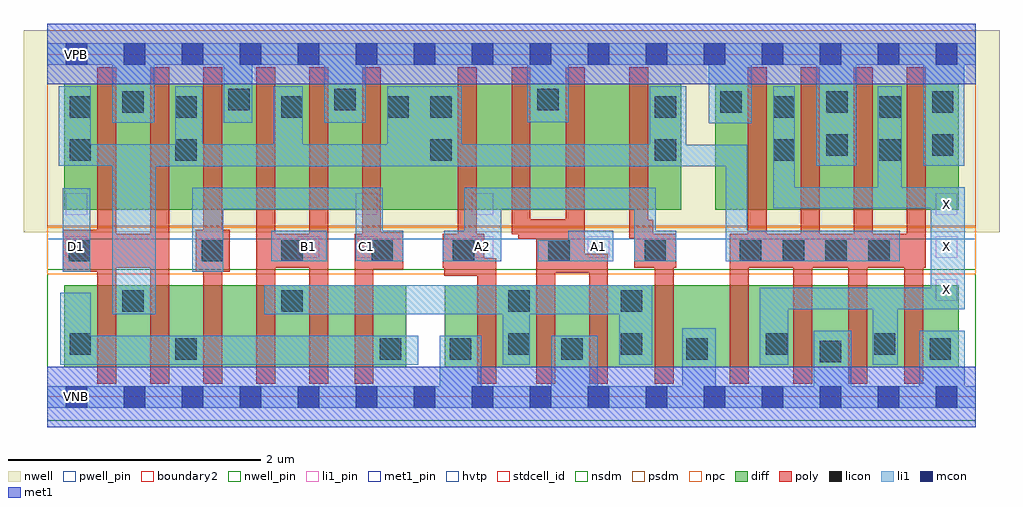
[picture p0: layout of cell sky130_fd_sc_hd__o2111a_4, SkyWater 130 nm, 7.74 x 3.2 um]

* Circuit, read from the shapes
.subckt sky130_fd_sc_hd__o2111a_4 A1 A2 B1 C1 D1 VGND VNB VPB VPWR X
XM1 n1 D1 n2 VNB sky130_fd_pr__nfet_01v8 w=0.65 l=0.15 m=2
XM2 n3 C1 n2 VNB sky130_fd_pr__nfet_01v8 w=0.65 l=0.15
XM3 n4 B1 n3 VNB sky130_fd_pr__nfet_01v8 w=0.65 l=0.15
XM4 n5 B1 n4 VNB sky130_fd_pr__nfet_01v8 w=0.65 l=0.15
XM5 n2 C1 n5 VNB sky130_fd_pr__nfet_01v8 w=0.65 l=0.15
XM6 n4 A2 VGND VNB sky130_fd_pr__nfet_01v8 w=0.65 l=0.15 m=2
XM7 VGND A1 n4 VNB sky130_fd_pr__nfet_01v8 w=0.65 l=0.15 m=2
XM8 X n1 VGND VNB sky130_fd_pr__nfet_01v8 w=0.65 l=0.15 m=4
XM9 VPWR D1 n1 VPB sky130_fd_pr__pfet_01v8_hvt w=1 l=0.15 m=2
XM10 VPWR C1 n1 VPB sky130_fd_pr__pfet_01v8_hvt w=1 l=0.15 m=2
XM11 n1 B1 VPWR VPB sky130_fd_pr__pfet_01v8_hvt w=1 l=0.15 m=2
XM12 n6 A2 n1 VPB sky130_fd_pr__pfet_01v8_hvt w=1 l=0.15
XM13 VPWR A1 n6 VPB sky130_fd_pr__pfet_01v8_hvt w=1 l=0.15
XM14 n7 A1 VPWR VPB sky130_fd_pr__pfet_01v8_hvt w=1 l=0.15
XM15 n1 A2 n7 VPB sky130_fd_pr__pfet_01v8_hvt w=1 l=0.15
XM16 X n1 VPWR VPB sky130_fd_pr__pfet_01v8_hvt w=1 l=0.15 m=4
.ends

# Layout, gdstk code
import gdstk
lib = gdstk.Library(unit=1e-6, precision=1e-09)
def R(c, l, rs):  # rectangles x0, y0, x1, y1
    for r in rs: c.add(gdstk.rectangle(r[:2], r[2:], *l))
def A(c, l, x, y, w, h, nx, ny, dx, dy):  # array of equal rectangles
    R(c, l, [(x+i*dx, y+j*dy, x+i*dx+w, y+j*dy+h) for i in range(nx) for j in range(ny)])
def P(c, l, *ps):  # polygons
    for p in ps: c.add(gdstk.Polygon(p, *l))
nwell_pin = (64, 16)
nwell = (64, 20)
diff = (65, 20)
poly = (66, 20)
licon = (66, 44)
li1_pin = (67, 16)
li1 = (67, 20)
mcon = (67, 44)
met1_pin = (68, 16)
met1 = (68, 20)
hvtp = (78, 44)
stdcell_id = (81, 4)
nsdm = (93, 44)
psdm = (94, 20)
npc = (95, 20)
pwell_pin = (122, 16)
boundary2 = (236, 0)

sky130_fd_sc_hd__o2111a_ = lib.new_cell('sky130_fd_sc_hd__o2111a_4')
R(sky130_fd_sc_hd__o2111a_, nwell_pin, [(0.145,2.635,0.315,2.805)])
R(sky130_fd_sc_hd__o2111a_, nwell, [(-0.19,1.305,7.55,2.91)])
R(sky130_fd_sc_hd__o2111a_, diff, [(0.135,0.235,2.845,0.885), (3.15,0.235,7.225,0.885), (0.135,1.485,5.025,2.485), (5.295,1.485,7.225,2.485)])
R(sky130_fd_sc_hd__o2111a_, poly, [(2.435,0.105,2.585,1.295), (3.255,1.26,3.405,2.615), (2.495,1.265,2.645,2.615), (5.555,1.275,5.705,2.615)])
P(sky130_fd_sc_hd__o2111a_, poly, [(0.965,2.615),(0.815,2.615),(0.815,1.295),(0.545,1.295),(0.545,2.615),(0.395,2.615),(0.395,1.325),(0.12,1.325),(0.12,0.995),(0.395,0.995),(0.395,0.105),(0.545,0.105),(0.545,1.025),(0.815,1.025),(0.815,0.105),(0.965,0.105)],
  [(1.445,1.325),(1.385,1.325),(1.385,2.615),(1.235,2.615),(1.235,1.325),(1.175,1.325),(1.175,0.995),(1.235,0.995),(1.235,0.105),(1.385,0.105),(1.385,0.995),(1.445,0.995)],
  [(2.225,2.615),(2.075,2.615),(2.075,1.295),(1.805,1.295),(1.805,2.615),(1.655,2.615),(1.655,0.105),(1.805,0.105),(1.805,1.025),(2.075,1.025),(2.075,0.105),(2.225,0.105)],
  [(2.82,1.305),(2.495,1.305),(2.495,1.295),(2.49,1.295),(2.49,1.015),(2.82,1.015)],
  [(3.56,1.1),(3.465,1.1),(3.465,1.295),(3.135,1.295),(3.135,1.025),(3.145,1.025),(3.145,0.96),(3.41,0.96),(3.41,0.105),(3.56,0.105)],
  [(4.445,1.135),(4.26,1.135),(4.26,2.615),(4.11,2.615),(4.11,1.41),(3.83,1.41),(3.83,2.615),(3.68,2.615),(3.68,1.29),(3.735,1.29),(3.735,1.255),(3.875,1.255),(3.875,0.105),(4.025,0.105),(4.025,0.985),(4.295,0.985),(4.295,0.105),(4.445,0.105)],
  [(4.985,1.295),(4.805,1.295),(4.805,1.405),(4.765,1.405),(4.765,2.615),(4.615,2.615),(4.615,1.26),(4.655,1.26),(4.655,1.025),(4.815,1.025),(4.815,0.105),(4.965,0.105),(4.965,1.025),(4.985,1.025)],
  [(6.965,2.615),(6.815,2.615),(6.815,1.295),(6.545,1.295),(6.545,2.615),(6.395,2.615),(6.395,1.295),(6.125,1.295),(6.125,2.615),(5.975,2.615),(5.975,1.295),(5.41,1.295),(5.41,0.105),(5.56,0.105),(5.56,1.025),(5.915,1.025),(5.915,0.105),(6.065,0.105),(6.065,1.025),(6.35,1.025),(6.35,0.105),(6.5,0.105),(6.5,1.025),(6.795,1.025),(6.795,0.105),(6.945,0.105),(6.945,1.025),(6.965,1.025)])
A(sky130_fd_sc_hd__o2111a_, licon, 5.49, 1.075, 0.17, 0.17, 4, 1, 0.34, 0)
A(sky130_fd_sc_hd__o2111a_, licon, 0.175, 2.215, 0.17, 0.17, 4, 1, 0.84, 0)
A(sky130_fd_sc_hd__o2111a_, licon, 5.335, 2.255, 0.17, 0.17, 3, 1, 0.84, 0)
R(sky130_fd_sc_hd__o2111a_, licon, [(6.125,0.275,6.295,0.445), (1.015,0.295,1.185,0.465), (2.635,0.295,2.805,0.465), (3.19,0.295,3.36,0.465), (4.075,0.295,4.245,0.465), (5.065,0.295,5.235,0.465), (6.995,0.295,7.165,0.465), (0.175,0.335,0.345,0.505), (3.655,0.335,3.825,0.505), (4.545,0.335,4.715,0.505), (5.695,0.335,5.865,0.505), (6.555,0.335,6.725,0.505), (0.595,0.675,0.765,0.845), (1.855,0.675,2.025,0.845), (3.655,0.675,3.825,0.845), (4.545,0.675,4.715,0.845), (0.17,1.075,0.34,1.245), (1.225,1.075,1.395,1.245), (1.855,1.075,2.025,1.245), (2.57,1.075,2.74,1.245), (3.215,1.075,3.385,1.245), (3.97,1.075,4.14,1.245), (4.735,1.075,4.905,1.245), (0.175,1.875,0.345,2.045), (1.015,1.875,1.185,2.045), (3.035,1.875,3.205,2.045), (4.815,1.875,4.985,2.045), (5.755,1.875,5.925,2.045), (6.595,1.875,6.765,2.045), (6.175,1.915,6.345,2.085), (7.015,1.915,7.185,2.085), (3.035,2.215,3.205,2.385), (4.815,2.215,4.985,2.385), (5.755,2.215,5.925,2.385), (6.595,2.215,6.765,2.385), (0.595,2.255,0.765,2.425), (1.435,2.275,1.605,2.445), (2.275,2.275,2.445,2.445), (3.885,2.275,4.055,2.445)])
A(sky130_fd_sc_hd__o2111a_, li1_pin, 7.045, 0.765, 0.17, 0.17, 1, 3, 0, 0.34)
A(sky130_fd_sc_hd__o2111a_, li1_pin, 2.445, 1.105, 0.17, 0.17, 3, 1, 0.92, 0)
R(sky130_fd_sc_hd__o2111a_, li1_pin, [(0.145,1.105,0.315,1.275), (1.985,1.105,2.155,1.275), (0.145,1.445,0.315,1.615), (2.445,1.445,2.615,1.615), (3.365,1.445,3.535,1.615)])
R(sky130_fd_sc_hd__o2111a_, li1, [(0.12,0.995,0.34,1.655), (1.775,1.075,2.215,1.32)])
P(sky130_fd_sc_hd__o2111a_, li1, [(7.36,0.085),(7.275,0.085),(7.275,0.525),(6.915,0.525),(6.915,0.085),(6.375,0.085),(6.375,0.525),(6.075,0.525),(6.075,0.085),(5.3,0.085),(5.3,0.545),(5.035,0.545),(5.035,0.085),(4.365,0.085),(4.365,0.485),(3.995,0.485),(3.995,0.085),(3.44,0.085),(3.44,0.485),(3.11,0.485),(3.11,0.085),(0,0.085),(0,-0.085),(7.36,-0.085)],
  [(7.36,2.805),(0,2.805),(0,2.635),(0.515,2.635),(0.515,2.175),(0.845,2.175),(0.845,2.635),(1.4,2.635),(1.4,2.175),(1.625,2.175),(1.625,2.635),(2.195,2.635),(2.195,2.175),(2.525,2.175),(2.525,2.635),(3.805,2.635),(3.805,2.18),(4.135,2.18),(4.135,2.635),(5.245,2.635),(5.245,2.17),(5.585,2.17),(5.585,2.635),(6.095,2.635),(6.095,1.835),(6.415,1.835),(6.415,2.635),(6.945,2.635),(6.945,1.835),(7.27,1.835),(7.27,2.635),(7.36,2.635)],
  [(2.82,1.32),(2.66,1.32),(2.66,1.66),(1.15,1.66),(1.15,0.995),(1.395,0.995),(1.395,1.49),(2.445,1.49),(2.445,1.08),(2.49,1.08),(2.49,1.075),(2.82,1.075)],
  [(2.94,0.485),(0.345,0.485),(0.345,0.825),(0.1,0.825),(0.1,0.255),(2.94,0.255)],
  [(4.485,1.32),(4.13,1.32),(4.13,1.245),(3.89,1.245),(3.89,1.075),(4.485,1.075)],
  [(4.795,0.885),(1.72,0.885),(1.72,0.655),(3.61,0.655),(3.61,0.255),(3.825,0.255),(3.825,0.655),(4.535,0.655),(4.535,0.255),(4.795,0.255)],
  [(4.985,1.32),(4.825,1.32),(4.825,1.66),(3.305,1.66),(3.305,1.32),(3.145,1.32),(3.145,1.245),(3.135,1.245),(3.135,1.075),(3.6,1.075),(3.6,1.49),(4.655,1.49),(4.655,1.075),(4.985,1.075)],
  [(6.76,1.32),(5.55,1.32),(5.55,2),(5.065,2),(5.065,2.465),(4.775,2.465),(4.775,2.005),(3.285,2.005),(3.285,2.465),(2.695,2.465),(2.695,2.005),(2.025,2.005),(2.025,2.465),(1.795,2.465),(1.795,2.005),(1.23,2.005),(1.23,2.465),(1.015,2.465),(1.015,2.005),(0.345,2.005),(0.345,2.465),(0.09,2.465),(0.09,1.835),(0.515,1.835),(0.515,0.655),(0.86,0.655),(0.86,1.83),(5.38,1.83),(5.38,1.075),(6.76,1.075)],
  [(7.275,1.665),(6.775,1.665),(6.775,2.465),(6.585,2.465),(6.585,1.665),(5.925,1.665),(5.925,2.465),(5.755,2.465),(5.755,1.495),(7.005,1.495),(7.005,0.865),(5.65,0.865),(5.65,0.255),(5.875,0.255),(5.875,0.695),(6.545,0.695),(6.545,0.255),(6.745,0.255),(6.745,0.695),(7.275,0.695)])
A(sky130_fd_sc_hd__o2111a_, mcon, 0.145, -0.085, 0.17, 0.17, 16, 2, 0.46, 2.72)
R(sky130_fd_sc_hd__o2111a_, met1_pin, [(0.145,-0.085,0.315,0.085), (0.145,2.635,0.315,2.805)])
R(sky130_fd_sc_hd__o2111a_, hvtp, [(0,1.25,7.36,2.72)])
R(sky130_fd_sc_hd__o2111a_, stdcell_id, [(0,0,7.36,2.72)])
R(sky130_fd_sc_hd__o2111a_, nsdm, [(0,-0.19,7.36,1.015)])
R(sky130_fd_sc_hd__o2111a_, psdm, [(0,1.355,7.36,2.91)])
R(sky130_fd_sc_hd__o2111a_, npc, [(0,0.975,7.36,1.345)])
R(sky130_fd_sc_hd__o2111a_, pwell_pin, [(0.145,-0.085,0.315,0.085)])
R(sky130_fd_sc_hd__o2111a_, boundary2, [(0,0,7.36,2.72)])
sky130_fd_sc_hd__o2111a_.add(gdstk.FlexPath([(0,2.72),(7.36,2.72)], 0.48, ends="flush", simple_path=True, layer=68, datatype=20))  # met1
sky130_fd_sc_hd__o2111a_.add(gdstk.FlexPath([(0,0),(7.36,0)], 0.48, ends="flush", simple_path=True, layer=68, datatype=20))  # met1
sky130_fd_sc_hd__o2111a_.add(gdstk.Label('X', (7.13,0.85), layer=67, texttype=5))
sky130_fd_sc_hd__o2111a_.add(gdstk.Label('X', (7.13,1.19), layer=67, texttype=5))
sky130_fd_sc_hd__o2111a_.add(gdstk.Label('X', (7.13,1.53), layer=67, texttype=5))
sky130_fd_sc_hd__o2111a_.add(gdstk.Label('A1', (4.37,1.19), layer=67, texttype=5))
sky130_fd_sc_hd__o2111a_.add(gdstk.Label('A2', (3.45,1.19), layer=67, texttype=5))
sky130_fd_sc_hd__o2111a_.add(gdstk.Label('C1', (2.53,1.19), layer=67, texttype=5))
sky130_fd_sc_hd__o2111a_.add(gdstk.Label('B1', (2.07,1.19), layer=67, texttype=5))
sky130_fd_sc_hd__o2111a_.add(gdstk.Label('D1', (0.23,1.19), layer=67, texttype=5))
sky130_fd_sc_hd__o2111a_.add(gdstk.Label('VNB', (0.23,0), layer=64, texttype=59))
sky130_fd_sc_hd__o2111a_.add(gdstk.Label('VPB', (0.23,2.72), layer=64, texttype=5))
sky130_fd_sc_hd__o2111a_.add(gdstk.Label('VPWR', (0.23,2.72), layer=68, texttype=5))
sky130_fd_sc_hd__o2111a_.add(gdstk.Label('VGND', (0.23,0), layer=68, texttype=5))
sky130_fd_sc_hd__o2111a_.add(gdstk.Label('o2111a_4', (0,0), layer=83, texttype=44))

lib.write_gds('sky130_fd_sc_hd__o2111a_4.gds')
